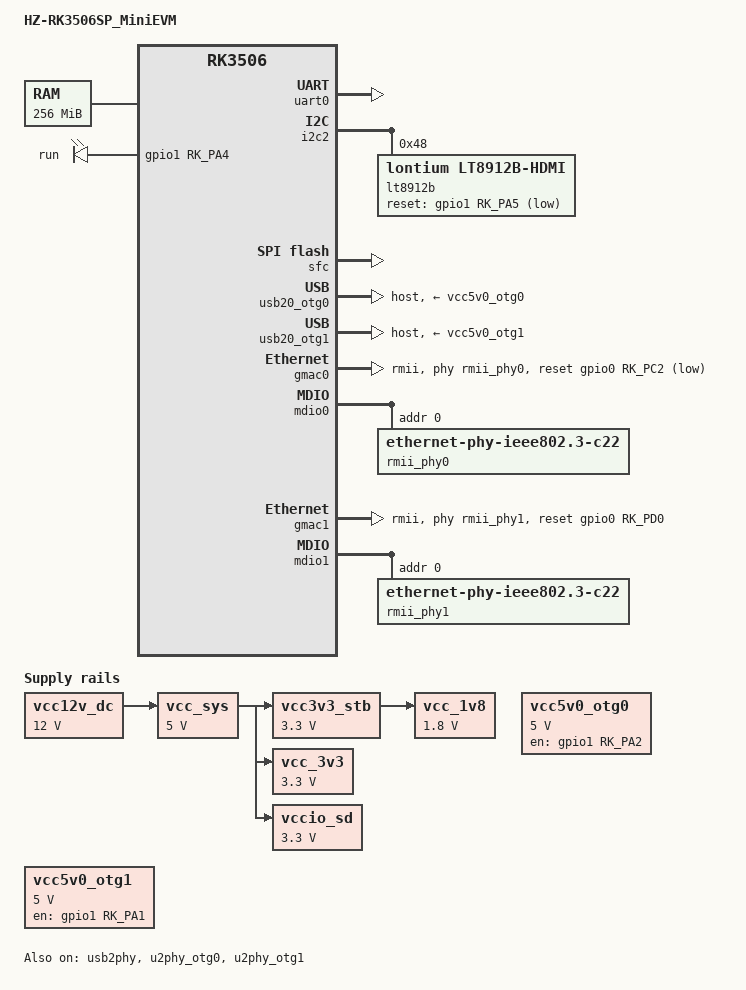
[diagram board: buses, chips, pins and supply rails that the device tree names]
// SPDX-License-Identifier: (GPL-2.0+ OR MIT)
/*
 * Copyright (c) 2025 HZHY Electronics Co., Ltd.
 *
 * HZ-RK3506SP MiniEVM common device tree include.
 * Ported from HZHY kernel-6.1 SDK to mainline Linux 7.1 / OpenWrt.
 */

#include "rk3506.dtsi"

/ {
	model = "HZ-RK3506SP_MiniEVM";
	compatible = "rockchip,rk3506-evb1-v10", "rockchip,rk3506";

	/* PSCI is provided by the Rockchip OP-TEE secure monitor.
	 * Linux brings up secondary CPUs via PSCI SMC calls. */

	aliases {
		serial0 = &uart0;
		serial1 = &uart1;
		serial2 = &uart2;
		serial3 = &uart3;
		ethernet0 = &gmac0;
		ethernet1 = &gmac1;
		i2c0 = &i2c0;
		i2c2 = &i2c2;
	};

	chosen {
		stdout-path = &uart0;
	};

	memory@0 {
		device_type = "memory";
		reg = <0x0 0x10000000>;
	};

	reserved-memory {
		#address-cells = <1>;
		#size-cells = <1>;
		ranges;

		/* OP-TEE / trust resident memory.
		 * The SPL/loader pins OP-TEE in low DRAM [0x0, ~0x62000).
		 * Without this carve-out the kernel adds those pages to the
		 * free pool and hands them to user space; the secure world
		 * then rejects the access as a precise external abort.
		 * Mirrors the vendor rk3506 DT's trust@0 reservation. */
		trust@0 {
			/* OP-TEE reports 0x62000 bytes, but the secure DRAM firewall
			 * protects low memory at 4 MiB granularity on this board.
			 * Reserve 4 MiB to avoid handing secure pages to userspace. */
			reg = <0x0 0x400000>;
		};
	};

	vcc12v_dc: vcc12v-dc {
		compatible = "regulator-fixed";
		regulator-name = "vcc12v_dc";
		regulator-always-on;
		regulator-boot-on;
		regulator-min-microvolt = <12000000>;
		regulator-max-microvolt = <12000000>;
	};

	vcc_sys: vcc-sys {
		compatible = "regulator-fixed";
		regulator-name = "vcc_sys";
		regulator-always-on;
		regulator-boot-on;
		regulator-min-microvolt = <5000000>;
		regulator-max-microvolt = <5000000>;
		vin-supply = <&vcc12v_dc>;
	};

	vcc3v3_stb: vcc3v3-stb {
		compatible = "regulator-fixed";
		regulator-name = "vcc3v3_stb";
		regulator-always-on;
		regulator-boot-on;
		regulator-min-microvolt = <3300000>;
		regulator-max-microvolt = <3300000>;
		vin-supply = <&vcc_sys>;
	};

	vcc_1v8: vcc-1v8 {
		compatible = "regulator-fixed";
		regulator-name = "vcc_1v8";
		regulator-always-on;
		regulator-boot-on;
		regulator-min-microvolt = <1800000>;
		regulator-max-microvolt = <1800000>;
		vin-supply = <&vcc3v3_stb>;
	};

	vcc_3v3: vcc-3v3 {
		compatible = "regulator-fixed";
		regulator-name = "vcc_3v3";
		regulator-always-on;
		regulator-boot-on;
		regulator-min-microvolt = <3300000>;
		regulator-max-microvolt = <3300000>;
		vin-supply = <&vcc_sys>;
	};

	vccio_sd: vccio-sd-regulator {
		compatible = "regulator-fixed";
		regulator-name = "vccio_sd";
		regulator-always-on;
		regulator-boot-on;
		regulator-min-microvolt = <3300000>;
		regulator-max-microvolt = <3300000>;
		vin-supply = <&vcc_sys>;
	};

	vcc5v0_otg0: vcc5v0-otg0-regulator {
		compatible = "regulator-fixed";
		regulator-name = "vcc5v0_otg0";
		regulator-min-microvolt = <5000000>;
		regulator-max-microvolt = <5000000>;
		enable-active-high;
		gpio = <&gpio1 RK_PA2 GPIO_ACTIVE_HIGH>;
		pinctrl-names = "default";
		pinctrl-0 = <&vcc5v0_otg0_en>;
	};

	vcc5v0_otg1: vcc5v0-otg1-regulator {
		compatible = "regulator-fixed";
		regulator-name = "vcc5v0_otg1";
		regulator-boot-on;
		regulator-always-on;
		regulator-min-microvolt = <5000000>;
		regulator-max-microvolt = <5000000>;
		enable-active-high;
		gpio = <&gpio1 RK_PA1 GPIO_ACTIVE_HIGH>;
		pinctrl-names = "default";
		pinctrl-0 = <&vcc5v0_otg1_en>;
	};

	leds: leds {
		compatible = "gpio-leds";
		status = "okay";
		run_led: run-led {
			label = "run";
			gpios = <&gpio1 RK_PA4 GPIO_ACTIVE_HIGH>;
			linux,default-trigger = "heartbeat";
			default-state = "on";
		};
	};

};

/* CPU operating points (OPP).
 * Without an OPP table the cpufreq-dt driver has no valid frequency
 * targets; ondemand may attempt to scale the PVTPLL to an undefined
 * rate and hang the system.  These are conservative, clk-only points.
 * If a PMIC-based cpu-supply is added later, append voltage columns. */
&cpu0 {
	operating-points = <
		1200000	0	/* 1.2 GHz (stock boot speed) */
		1008000	0	/* 1.008 GHz */
		816000	0	/* 816 MHz */
		600000	0	/* 600 MHz */
		408000	0	/* 408 MHz */
	>;
};

&cpu1 {
	/* PSCI brings up cpu1 */
};

&cpu2 {
	/* PSCI brings up cpu2 */
};

&uart0 {
	status = "okay";
};

&uart1 {
	status = "disabled";
};

&uart2 {
	status = "disabled";
};

&uart3 {
	status = "disabled";
};

&i2c0 {
	status = "disabled";
};

&i2c2 {
	status = "okay";
	pinctrl-names = "default";
	pinctrl-0 = <&rm_io4_i2c2_scl &rm_io5_i2c2_sda>;

	lt8912b: lt8912b@48 {
		compatible = "lontium,lt8912b-hdmi";
		reg = <0x48>;
		reset-gpios = <&gpio1 RK_PA5 GPIO_ACTIVE_LOW>;
		status = "okay";
	};
};

&sai1 {
	status = "disabled";
};

&spi0 {
	status = "disabled";
	num-cs = <2>;
	pinctrl-names = "default";
	pinctrl-0 = <&rm_io14_spi0_clk &rm_io13_spi0_csn0 &rm_io15_spi0_csn1 &rm_io17_spi0_mosi &rm_io16_spi0_miso>;
	flash@0 {
		compatible = "winbond,w25q20cl", "jedec,spi-nor";
		reg = <0>;
		spi-max-frequency = <50000000>;
	};
	flash@1 {
		compatible = "winbond,w25q20cl", "jedec,spi-nor";
		reg = <1>;
		spi-max-frequency = <50000000>;
	};
};

&sfc {
	status = "okay";
};

&usb2phy {
	status = "okay";
};

&u2phy_otg0 {
	status = "okay";
};

&u2phy_otg1 {
	status = "okay";
	/* Consumed by the generic PHY core (phy-core.c), which enables it as
	 * soon as the PHY is powered on.
	 */
	phy-supply = <&vcc5v0_otg1>;
};

&usb20_otg0 {
	status = "okay";
	dr_mode = "host";
	/* Sheet 06: GPIO PA2 switches U5, the load switch feeding the Type-C
	 * VBUS pin. dwc2 reads vbus-supply from the controller node and enables
	 * it while the root hub is up, which is the only thing that turns the
	 * rail on: vcc5v0_otg0 has no regulator-boot-on/always-on, so without
	 * this the port never gets 5 V. The vendor kernel did the same job from
	 * phy-rockchip-inno-usb2.c, but mainline 7.1 has no regulator support
	 * in that driver, so a vbus-supply on &u2phy_otg0 would be a no-op.
	 */
	vbus-supply = <&vcc5v0_otg0>;
};

&usb20_otg1 {
	status = "okay";
	dr_mode = "host";
	/* vcc5v0_otg1 is regulator-always-on, so this only takes a reference;
	 * regulator_disable() on an always-on rail is a no-op.
	 */
	vbus-supply = <&vcc5v0_otg1>;
};

/* Sheet 03: YT8512H on the rmii0 pin group (GPIO2 bank). The 50 MHz RMII clock
 * arrives on RMII0_CLK, hence clock_in_out "input".
 *
 * No clock pad here on purpose: the vendor board DTS
 * (kernel-6.1 HZ-RK3506SP_MiniEVM.dtsi:162-181) gives each MAC exactly four
 * pinctrl groups, never eth_clk0/1_25m_out_pins, and overrides neither clocks
 * nor assigned-clock-rates, so CLK_MAC_OUT stays unused and GPIO0_C4/C3 are not
 * muxed to a 25 MHz output. The factory NAND image boots with those pads at
 * func 0 and both ports at 100M, and tri-stating the pad on our image changed
 * nothing, so the SoC is not this PHY's timebase and driving it only risks
 * contending with the crystal on the XI pin.
 *
 * Reset: RMII0_RSTN leaves ball L1 (GPIO0_C2) and reaches PHYRSTB through a
 * fitted R21 0R -- straight connection to an RSTN-named pin, so ACTIVE_LOW. An
 * undriven pad left the reset input floating, which is what produced
 * "MDIO device at address 3 is missing".
 *
 * MDIO address 0: measured on hardware as stmmac-0:00 (address 3 also answers,
 * which is why the earlier strap-based guess looked plausible). */
&gmac0 {
	phy-mode = "rmii";
	clock_in_out = "input";

	pinctrl-names = "default";
	pinctrl-0 = <&eth_rmii0_miim_pins
	&eth_rmii0_tx_bus2_pins
	&eth_rmii0_rx_bus2_pins
	&eth_rmii0_clk_pins>;

	phy-handle = <&rmii_phy0>;

	/* Vendor text. stmmac_mdio.c:398-411 uses slot 0 as the wait *before*
	 * asserting reset -- the "power stable -> assert" margin the vendor wiki
	 * asks to keep above 10 ms -- then holds the pulse for slot 1 and waits
	 * slot 2 after release; the earlier <0 20000 100000> skipped slot 0, which
	 * only a cold boot could hide. snps,reset-active-low is read by no kernel,
	 * so polarity still comes only from the GPIO flag. */
	snps,reset-gpio = <&gpio0 RK_PC2 GPIO_ACTIVE_LOW>;
	snps,reset-delays-us = <20000 20000 20000>;

	status = "okay";
};

&mdio0 {
	/* rk3506.dtsi carries this compatible and patches-7.1/0021 deletes it; it
	 * has to come back to reach the vendor shape, because without it
	 * stmmac_of_get_mdio() returns NULL, no bus is registered and phy-handle has
	 * nothing to resolve against (-ENODEV). Verified on hardware at c709067:
	 * both mdio_bus stmmac-0 and stmmac-1 appear, no -EBUSY. */
	compatible = "snps,dwmac-mdio";

	rmii_phy0: phy@0 {
		compatible = "ethernet-phy-ieee802.3-c22";
		reg = <0x0>;
	};
};

/* Sheet 04: U3, a YT8522H on the rmii1 pin group (GPIO3 bank), with its own
 * 25 MHz crystal -- Y2 and load caps C24/C25 are fitted, confirmed visually on
 * the board, which overturns the "crystal-less, Y2/C24/C25 = NC" reading this
 * file used to carry. So the reference for this MAC is the PHY's, not ours, and
 * GPIO0_C3 must not be muxed to eth_clk1_25m_out (see gmac0 above).
 *
 * Reset: RMII1_RSTN/1.8V leaves ball G1 (GPIO0_D0). The series R51 to PHY1RSTB
 * is NC; the net instead goes through R62 330R into the base of Q1 (MMBT3904,
 * emitter to ground), whose open collector pulls PHY1RSTB low through D2 while
 * R63 4.7K holds it high when Q1 is off. That is an inverting stage, so
 * asserting reset drives the pad HIGH -- GPIO_ACTIVE_HIGH despite the RSTN name.
 *
 * MDIO address 0: measured on hardware as stmmac-1:00. */
&gmac1 {
	phy-mode = "rmii";
	clock_in_out = "input";

	pinctrl-names = "default";
	pinctrl-0 = <&eth_rmii1_miim_pins
	&eth_rmii1_tx_bus2_pins
	&eth_rmii1_rx_bus2_pins
	&eth_rmii1_clk_pins>;

	phy-handle = <&rmii_phy1>;

	/* Vendor text; see gmac0 for what each slot does. */
	snps,reset-gpio = <&gpio0 RK_PD0 GPIO_ACTIVE_HIGH>;
	snps,reset-delays-us = <20000 20000 20000>;

	status = "okay";
};

&mdio1 {
	/* See mdio0. */
	compatible = "snps,dwmac-mdio";

	rmii_phy1: phy@0 {
		compatible = "ethernet-phy-ieee802.3-c22";
		reg = <0x0>;
	};
};

&pinctrl {
	headphone {
		hp_det: hp-det {
			rockchip,pins = <1 RK_PA6 RK_FUNC_GPIO &pcfg_pull_none>;
		};
	};
	usb {
		vcc5v0_otg0_en: vcc5v0-otg0-en {
			rockchip,pins = <1 RK_PA2 RK_FUNC_GPIO &pcfg_pull_none>;
		};
		vcc5v0_otg1_en: vcc5v0-otg1-en {
			rockchip,pins = <1 RK_PA1 RK_FUNC_GPIO &pcfg_pull_none>;
		};
	};
};
